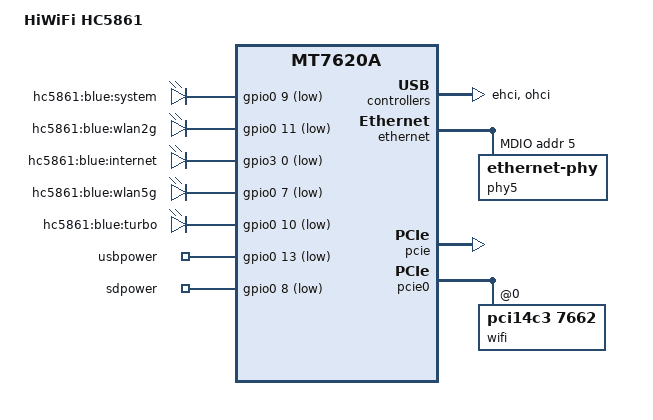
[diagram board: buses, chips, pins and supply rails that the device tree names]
/dts-v1/;

#include "mt7620a_hiwifi_hc5x61.dtsi"

/ {
	compatible = "hiwifi,hc5861", "hiwifi,hc5x61", "ralink,mt7620a-soc";
	model = "HiWiFi HC5861";

	aliases {
		led-boot = &led_system;
		led-failsafe = &led_system;
		led-running = &led_system;
		led-upgrade = &led_system;
	};

	leds {
		compatible = "gpio-leds";

		led_system: system {
			label = "hc5861:blue:system";
			gpios = <&gpio0 9 GPIO_ACTIVE_LOW>;
		};

		wlan2g {
			label = "hc5861:blue:wlan2g";
			gpios = <&gpio0 11 GPIO_ACTIVE_LOW>;
		};

		internet {
			label = "hc5861:blue:internet";
			gpios = <&gpio3 0 GPIO_ACTIVE_LOW>;
		};

		wlan5g {
			label = "hc5861:blue:wlan5g";
			gpios = <&gpio0 7 GPIO_ACTIVE_LOW>;
		};

		turbo {
			label = "hc5861:blue:turbo";
			gpios = <&gpio0 10 GPIO_ACTIVE_LOW>;
		};
	};

	gpio_export {
		compatible = "gpio-export";
		#size-cells = <0>;

		usbpower {
			gpio-export,name = "usbpower";
			gpio-export,output = <0>;
			gpios = <&gpio0 13 GPIO_ACTIVE_LOW>;
		};

		sdpower {
			gpio-export,name = "sdpower";
			gpio-export,output = <0>;
			gpios = <&gpio0 8 GPIO_ACTIVE_LOW>;
		};
	};
};

&ehci {
	status = "okay";
};

&ohci {
	status = "okay";
};

&ethernet {
	status = "okay";
	mtd-mac-address = <&factory 0x4>;
	pinctrl-names = "default";
	pinctrl-0 = <&rgmii1_pins &mdio_pins>;
	mediatek,portmap = "wllll";

	port@5 {
		status = "okay";
		phy-handle = <&phy5>;
		phy-mode = "rgmii";
	};

	mdio-bus {
		status = "okay";

		phy5: ethernet-phy@5 {
			reg = <5>;
			phy-mode = "rgmii";
		};
	};
};

&pcie {
	status = "okay";
};

&pcie0 {
	wifi@0,0 {
		compatible = "pci14c3,7662";
		reg = <0x0000 0 0 0 0>;
		mediatek,mtd-eeprom = <&factory 0x8000>;
		ieee80211-freq-limit = <5000000 6000000>;
	};
};
